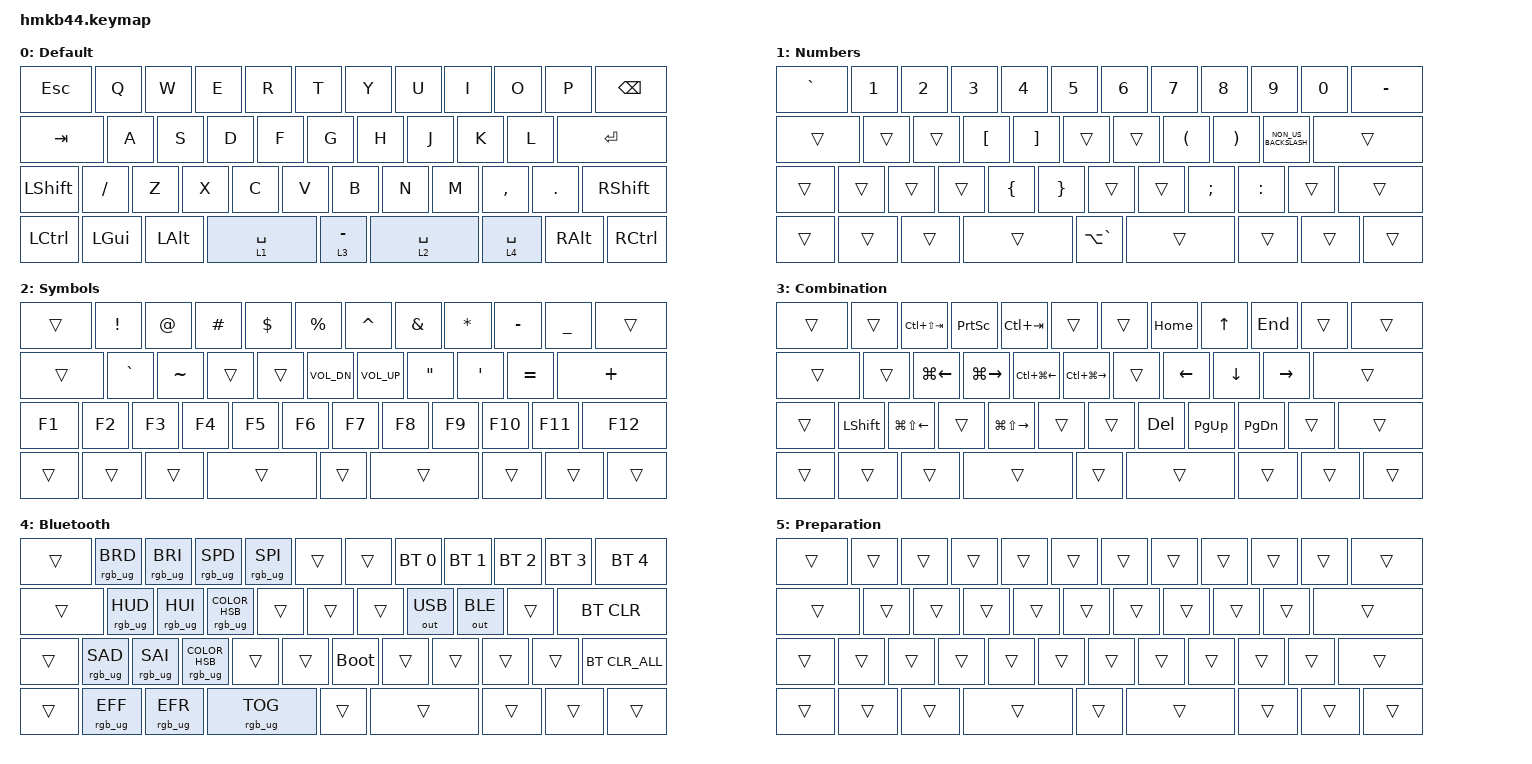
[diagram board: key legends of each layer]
#include <physical_layouts.dtsi>
#include <behaviors.dtsi>
#include <dt-bindings/zmk/bt.h>
#include <dt-bindings/zmk/keys.h>
#include <dt-bindings/zmk/outputs.h>
#include <dt-bindings/zmk/rgb.h>
#include <behaviors/rgbled_widget.dtsi>

&led_strip { chain-length = <6>; };

/ {
    behaviors {
        mt: mod_tap {
            compatible = "zmk,behavior-hold-tap";
            #binding-cells = <2>;
            flavor = "hold-preferred";
            tapping-term-ms = <200>;
            bindings = <&kp>, <&kp>;

            display-name = "Mod-Tap";
        };

        lt: layer_tap {
            compatible = "zmk,behavior-hold-tap";
            #binding-cells = <2>;
            flavor = "tap-preferred";
            tapping-term-ms = <200>;
            bindings = <&mo>, <&kp>;

            display-name = "Layer-Tap";
        };

        td0: td0 {
            compatible = "zmk,behavior-tap-dance";
            label = "TD0";
            #binding-cells = <0>;
            bindings = <&kp ESCAPE>, <&kp LA(LANG_ZENKAKUHANKAKU)>;
        };
        
        rgblayer: rgb_layer {
        compatible = "zmk,behavior-macro-two-param";
        #binding-cells = <2>;
        label = "MOMENTARY_LAYER_WITH_RGB_COLOR";
        bindings
            = <&macro_param_2to2 &rgb_ug RGB_COLOR_HSB_CMD MACRO_PLACEHOLDER &macro_param_1to1>
            , <&macro_press>
            , <&mo MACRO_PLACEHOLDER>
            , <&macro_pause_for_release>
            , <&macro_release>
            , <&macro_param_1to1 &mo MACRO_PLACEHOLDER>
            , <&macro_tap>
            , <&rgb_ug RGB_COLOR_HSB(0, 0, 0)>
            ;
        };
    };

    chosen { zmk,physical-layout = &layout_US; };

    layout_US: layout_US {
        compatible = "zmk,physical-layout";
        display-name = "US";
        transform = <&default_transform>;
        kscan = <&kscan0>;
        keys =
            //                    w   h    x    y     rot    rx    ry,,,,,,,,,,,,,,,,
            <&key_physical_attrs 150 100    0    0       0     0     0>,
            <&key_physical_attrs 100 100  150    0       0   150     0>,
            <&key_physical_attrs 100 100  250    0       0   250     0>,
            <&key_physical_attrs 100 100  350    0       0   350     0>,
            <&key_physical_attrs 100 100  450    0       0   450     0>,
            <&key_physical_attrs 100 100  550    0       0   550     0>,
            <&key_physical_attrs 100 100  650    0       0   650     0>,
            <&key_physical_attrs 100 100  750    0       0   750     0>,
            <&key_physical_attrs 100 100  850    0       0   850     0>,
            <&key_physical_attrs 100 100  950    0       0   950     0>,
            <&key_physical_attrs 100 100 1050    0       0  1050     0>,
            <&key_physical_attrs 150 100 1150    0       0  1150     0>,
            <&key_physical_attrs 175 100    0  100       0     0   100>,
            <&key_physical_attrs 100 100  175  100       0   175   100>,
            <&key_physical_attrs 100 100  275  100       0   275   100>,
            <&key_physical_attrs 100 100  375  100       0   375   100>,
            <&key_physical_attrs 100 100  475  100       0   475   100>,
            <&key_physical_attrs 100 100  575  100       0   575   100>,
            <&key_physical_attrs 100 100  675  100       0   675   100>,
            <&key_physical_attrs 100 100  775  100       0   775   100>,
            <&key_physical_attrs 100 100  875  100       0   875   100>,
            <&key_physical_attrs 100 100  975  100       0   975   100>,
            <&key_physical_attrs 225 100 1075  100       0  1075   100>,
            <&key_physical_attrs 125 100    0  200       0     0   200>,
            <&key_physical_attrs 100 100  125  200       0   125   200>,
            <&key_physical_attrs 100 100  225  200       0   225   200>,
            <&key_physical_attrs 100 100  325  200       0   325   200>,
            <&key_physical_attrs 100 100  425  200       0   425   200>,
            <&key_physical_attrs 100 100  525  200       0   525   200>,
            <&key_physical_attrs 100 100  625  200       0   625   200>,
            <&key_physical_attrs 100 100  725  200       0   725   200>,
            <&key_physical_attrs 100 100  825  200       0   825   200>,
            <&key_physical_attrs 100 100  925  200       0   925   200>,
            <&key_physical_attrs 100 100 1025  200       0  1025   200>,
            <&key_physical_attrs 175 100 1125  200       0  1125   200>,
            <&key_physical_attrs 125 100    0  300       0     0   300>,
            <&key_physical_attrs 125 100  125  300       0   125   300>,
            <&key_physical_attrs 125 100  250  300       0   250   300>,
            <&key_physical_attrs 225 100  375  300       0   375   300>,
            <&key_physical_attrs 100 100  600  300       0   600   300>,
            <&key_physical_attrs 225 100  700  300       0   700   300>,
            <&key_physical_attrs 125 100  925  300       0   925   300>,
            <&key_physical_attrs 125 100 1050  300       0  1050   300>,
            <&key_physical_attrs 125 100 1175  300       0  1175   300>;
    };

    position_map {
        compatible = "zmk,physical-layout-position-map";
        complete;

        layout_US {
            physical-layout = <&layout_US>;
            positions =
                < 0  1  2  3  4  5  6  7  8  9 10 11>,
                <12 13 14 15 16 17 18 19 20 21 22>,
                <23 24 25 26 27 28 29 30 31 32 33 34>,
                <35 36 36 37 38 39 40 41 42 43>;
        };
    };

    keymap {
        compatible = "zmk,keymap";

        default_layer {
            display-name = "Default";
            bindings = <
&kp ESCAPE      &kp Q      &kp W     &kp E        &kp R        &kp T        &kp Y        &kp U     &kp I      &kp O      &kp P      &kp BACKSPACE
&kp TAB         &kp A      &kp S     &kp D        &kp F        &kp G        &kp H        &kp J     &kp K      &kp L      &kp ENTER
&kp LEFT_SHIFT  &kp SLASH  &kp Z     &kp X        &kp C        &kp V        &kp B        &kp N     &kp M      &kp COMMA  &kp DOT    &kp RIGHT_SHIFT
&kp LCTRL       &kp LGUI   &kp LALT  &lt 1 SPACE  &lt 3 MINUS  &lt 2 SPACE  &lt 4 SPACE  &kp RALT  &kp RCTRL
            >;
        };

        layer_1 {
            display-name = "Numbers";
            bindings = <
&kp GRAVE  &kp NUMBER_1  &kp NUMBER_2  &kp NUMBER_3      &kp NUMBER_4       &kp NUMBER_5     &kp NUMBER_6  &kp NUMBER_7          &kp NUMBER_8           &kp NUMBER_9          &kp NUMBER_0  &kp MINUS
&trans     &trans        &trans        &kp LEFT_BRACKET  &kp RIGHT_BRACKET  &trans           &trans        &kp LEFT_PARENTHESIS  &kp RIGHT_PARENTHESIS  &kp NON_US_BACKSLASH  &trans
&trans     &trans        &trans        &trans            &kp LEFT_BRACE     &kp RIGHT_BRACE  &trans        &trans                &kp SEMICOLON          &kp COLON             &trans        &trans
&trans     &trans        &trans        &trans            &kp LA(GRAVE)      &trans           &trans        &trans                &trans
            >;
        };

        layer_2 {
            display-name = "Symbols";
            bindings = <
&trans  &kp EXCLAMATION  &kp AT_SIGN  &kp POUND  &kp DOLLAR  &kp PERCENT   &kp CARET     &kp AMPERSAND      &kp ASTERISK      &kp MINUS  &kp UNDER  &trans
&trans  &kp GRAVE        &kp TILDE    &trans     &trans      &kp C_VOL_DN  &kp C_VOL_UP  &kp DOUBLE_QUOTES  &kp SINGLE_QUOTE  &kp EQUAL  &kp PLUS
&kp F1  &kp F2           &kp F3       &kp F4     &kp F5      &kp F6        &kp F7        &kp F8             &kp F9            &kp F10    &kp F11    &kp F12
&trans  &trans           &trans       &trans     &trans      &trans        &trans        &trans             &trans
            >;
        };

        layer_3 {
            display-name = "Combination";
            bindings = <
&trans  &trans          &kp LC(LS(TAB))         &kp PRINTSCREEN      &kp LC(TAB)              &trans                   &trans  &kp HOME        &kp UP_ARROW    &kp END          &trans  &trans
&trans  &trans          &kp LG(LEFT_ARROW)      &kp LG(RIGHT_ARROW)  &kp LC(LG(LEFT_ARROW))   &kp LC(LG(RIGHT_ARROW))  &trans  &kp LEFT_ARROW  &kp DOWN_ARROW  &kp RIGHT_ARROW  &trans
&trans  &kp LEFT_SHIFT  &kp LG(LS(LEFT_ARROW))  &trans               &kp LG(LS(RIGHT_ARROW))  &trans                   &trans  &kp DELETE      &kp PAGE_UP     &kp PAGE_DOWN    &trans  &trans
&trans  &trans          &trans                  &trans               &trans                   &trans                   &trans  &trans          &trans
            >;
        };

        layer_4 {
            display-name = "Bluetooth";
            bindings = <
&trans  &rgb_ug RGB_BRD  &rgb_ug RGB_BRI  &rgb_ug RGB_SPD                     &rgb_ug RGB_SPI  &trans  &trans       &bt BT_SEL 0  &bt BT_SEL 1  &bt BT_SEL 2  &bt BT_SEL 3  &bt BT_SEL 4
&trans  &rgb_ug RGB_HUD  &rgb_ug RGB_HUI  &rgb_ug RGB_COLOR_HSB(0,0,100)      &trans           &trans  &trans       &out OUT_USB  &out OUT_BLE  &trans        &bt BT_CLR
&trans  &rgb_ug RGB_SAD  &rgb_ug RGB_SAI  &rgb_ug RGB_COLOR_HSB(224,100,100)  &trans           &trans  &bootloader  &trans        &trans        &trans        &trans        &bt BT_CLR_ALL
&trans  &rgb_ug RGB_EFF  &rgb_ug RGB_EFR  &rgb_ug RGB_TOG                     &trans           &trans  &trans       &trans        &trans
            >;
        };

        layer_5 {
            display-name = "Preparation";
            bindings = <
&trans  &trans  &trans  &trans  &trans  &trans  &trans  &trans  &trans  &trans  &trans  &trans
&trans  &trans  &trans  &trans  &trans  &trans  &trans  &trans  &trans  &trans  &trans
&trans  &trans  &trans  &trans  &trans  &trans  &trans  &trans  &trans  &trans  &trans  &trans
&trans  &trans  &trans  &trans  &trans  &trans  &trans  &trans  &trans
            >;
        };
    };
};
